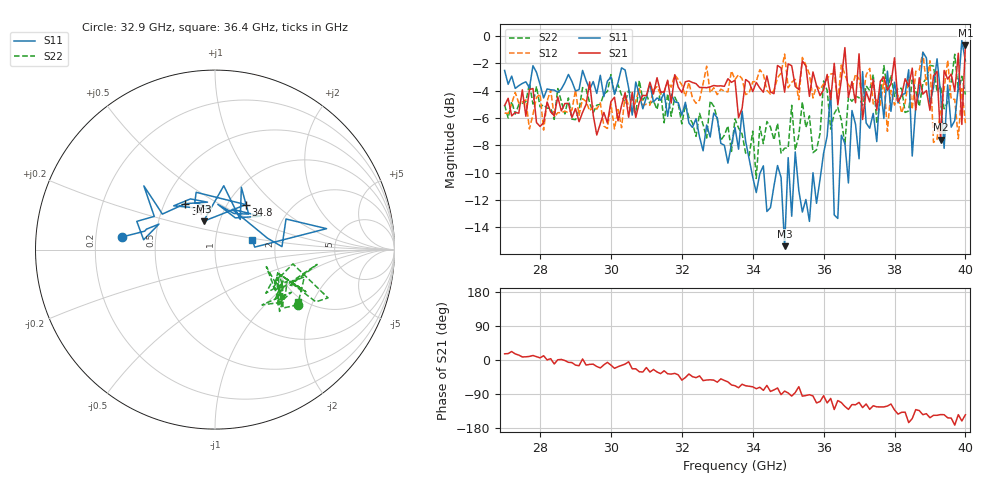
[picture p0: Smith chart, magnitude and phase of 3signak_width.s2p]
! Quiescent point : V1=-1.78505E-02 I1=+1.38925E-03 V2=-2.30632E-02 I2=-1.37143E-03
! Pulsed point : V1=-1.68574E-02 I1=+1.35314E-03 V2=-2.24312E-02 I2=-1.32253E-03
! Period : +2.00000E-04
! Input Supply timing : delay=+1.60000E-06 width=+2.20000E-06
! Output Supply timing : delay=+1.70000E-06 width=+2.00000E-06
! VNA timing : delay=+2.40000E-06 width=+1.10000E-06
# Hz S RI R 50
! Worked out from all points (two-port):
!   131 points, 27 GHz to 40 GHz, reference 50 ohm
!   highest |S21| = -0.67 dB at 40 GHz (marker M1); lowest = -7.6 dB at 39.3 GHz (marker M2)
!   |S21| within 3 dB of the highest: 32.06 GHz to 32.47 GHz (409.3 MHz wide, 1.27 % of centre); 32.85 GHz to 33.18 GHz (334.1 MHz wide, 1.01 % of centre)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
!   lowest |S11| = -15.4 dB at 34.9 GHz (marker M3), VSWR 1.41, Z = 42 + j13.6 ohm
!   |S11| at or under -10 dB: 33.98 GHz to 34.21 GHz (236.3 MHz wide, 0.693 % of centre); 34.32 GHz to 34.66 GHz (349.5 MHz wide, 1.01 % of centre); 35.25 GHz to 35.92 GHz (670.6 MHz wide, 1.88 % of centre)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
!   |S22| runs from -10.4 to -1.3 dB; largest |S21 - S12| = 0.56
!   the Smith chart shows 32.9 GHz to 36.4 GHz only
!   S11 on the Smith chart (normalised r, x): 32.9 GHz: 0.31, +0.06; 34 GHz: 0.64, +0.36; 34.8 GHz: 1.21, +0.67; 36.4 GHz: 1.52, +0.17
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2.7e10  0.2943 -0.6885  0.5345 0.1562  0.5037 0.1425  0.4962 -0.2596
2.92e10  -0.2457 -0.7078  0.5253 0.0261  0.572 -0.1465  0.5427 -0.3547
3.14e10  -0.4987 -0.3016  0.5047 -0.3659  0.4737 -0.3884  0.4547 -0.435
3.29e10  -0.5178 0.072  0.3966 -0.527  0.3323 -0.5559  0.461 -0.3077
3.35e10  -0.4357 0.1573  0.259 -0.639  0.3994 -0.5664  0.3595 -0.3446
3.4e10  -0.1658 0.256  0.2072 -0.5913  0.3204 -0.6004  0.3734 -0.2497
3.48e10  0.1719 0.2506  -0.0183 -0.7649  0.0553 -0.7305  0.3497 -0.1292
3.49e10  -0.064 0.1578  0.0871 -0.6176  -0.0637 -0.8572  0.3296 -0.2069
3.57e10  0.2555 0.1861  -0.0625 -0.7371  -0.0312 -0.5933  0.3503 -0.1327
3.62e10  0.6217 0.1167  -0.1163 -0.5745  -0.2154 -0.6931  0.4194 -0.1819
3.63e10  0.2212 0.0138  -0.5188 -0.6024  -0.2906 -0.6708  0.4979 -0.1525
3.64e10  0.2085 0.0529  -0.164 -0.5356  -0.1762 -0.5482  0.4649 -0.292
3.7e10  0.3325 -0.1265  -0.3216 -0.7993  -0.2896 -0.6344  0.4889 -0.34
3.71e10  0.7156 -0.195  -0.2888 -0.4023  -0.2137 -0.5435  0.5328 -0.1712
3.75e10  0.1988 -0.36  -0.2971 -0.446  -0.1592 -0.5618  0.4295 -0.2105
3.78e10  0.575 -0.4733  -0.3318 -0.5411  -0.2565 -0.3679  0.6318 0.0548
3.79e10  0.4116 -0.3348  -0.2944 -0.5994  -0.2948 -0.5604  0.6029 -0.3934
3.85e10  0.1733 -0.3201  -0.6897 -0.3285  -0.3808 -0.3825  0.6353 -0.2724
3.88e10  0.3838 -0.7849  -0.4978 -0.3584  -0.7458 -0.4531  0.5386 -0.3993
3.93e10  0.1028 -0.6098  -0.3379 -0.245  -0.4996 -0.1983  0.6085 -0.2511
3.97e10  -0.052 -0.4882  -0.6218 -0.09  -0.5067 -0.296  0.4356 -0.74
4e10  0.1297 -0.801  -0.7543 -0.5375  -0.4422 -0.1867  0.5137 -0.3305
